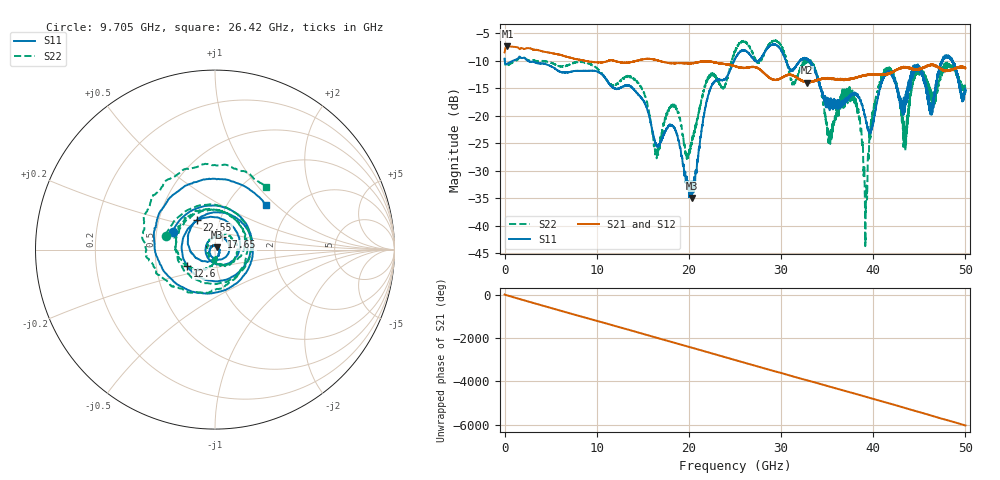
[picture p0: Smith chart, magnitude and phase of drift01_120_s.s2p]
!Created with skrf (http://scikit-rf.org).
# Hz S RI R 50.0
!freq ReS11 ImS11 ReS21 ImS21 ReS12 ImS12 ReS22 ImS22
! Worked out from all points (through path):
!   10001 points, 300 kHz to 50 GHz, reference 50 ohm
!   highest |S21| = -7.33 dB at 310.3 MHz (marker M1); lowest = -14.0 dB at 32.77 GHz (marker M2)
!   group delay of S21, straight-line fit = 335 ps
!   lowest |S11| = -35.0 dB at 20.33 GHz (marker M3), VSWR 1.04, Z = 51.3 + j1.24 ohm
!   |S11| at or under -10 dB: 2.555 GHz to 24.9 GHz (22.35 GHz wide, 163 % of centre); 30.53 GHz to 32.02 GHz (1.485 GHz wide, 4.75 % of centre); 33.06 GHz to 47.43 GHz (14.37 GHz wide, 35.7 % of centre) (the widest 3 of 18)
!   |S22| runs from -43.7 to -6.3 dB; largest |S21 - S12| = 0.011
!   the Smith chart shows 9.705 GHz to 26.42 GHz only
!   S11 on the Smith chart (normalised r, x): 9.705 GHz: 0.61, +0.13; 12.6 GHz: 0.72, -0.13; 17.65 GHz: 1.07, +0.15; 22.55 GHz: 0.78, +0.27; 26.42 GHz: 1.50, +0.86
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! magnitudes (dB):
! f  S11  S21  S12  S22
! 300 kHz  -9.6  -8.4  -8.5  -9.5
! 310.3 MHz  -10.5  -7.3  -7.3  -10.9
! 8.335 GHz  -11.8  -9.8  -9.8  -10.2
! 9.705 GHz  -11.8  -10.2  -10.2  -11.0
! 12.6 GHz  -14.9  -10.3  -10.3  -13.7
! 16.67 GHz  -25.6  -9.9  -9.9  -27.0
! 17.65 GHz  -22.2  -10.3  -10.3  -19.6
! 20.33 GHz  -35.0  -10.4  -10.4  -24.9
! 22.55 GHz  -14.3  -10.2  -10.2  -12.4
! 25 GHz  -9.6  -11.0  -11.0  -8.3
! 26.42 GHz  -8.5  -11.2  -11.2  -7.0
! 32.77 GHz  -9.7  -14.0  -13.8  -10.1
! 33.34 GHz  -10.7  -13.8  -13.8  -10.5
! 35.25 GHz  -17.3  -13.2  -13.3  -23.4
! 38 GHz  -15.9  -13.1  -13.2  -17.5
! 39.17 GHz  -20.5  -12.6  -12.6  -39.6
! 40.14 GHz  -19.9  -12.5  -12.5  -17.9
! 41.67 GHz  -11.9  -12.3  -12.4  -12.4
! 43.45 GHz  -17.6  -11.2  -11.2  -23.7
! 44.89 GHz  -11.5  -11.6  -11.5  -11.8
! 46.28 GHz  -18.8  -10.7  -10.6  -16.8
! 50 GHz  -15.6  -11.3  -11.3  -15.0
